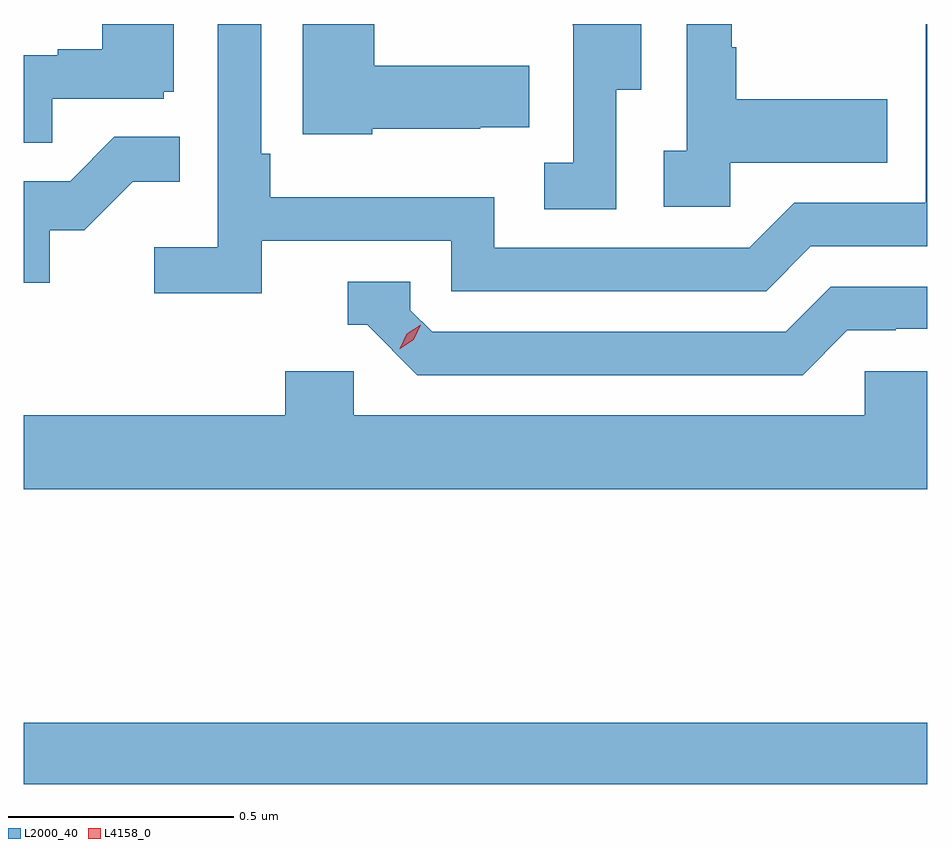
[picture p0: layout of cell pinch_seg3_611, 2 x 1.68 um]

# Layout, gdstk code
import gdstk
lib = gdstk.Library(unit=1e-6, precision=1e-09)
def R(c, l, rs):  # rectangles x0, y0, x1, y1
    for r in rs: c.add(gdstk.rectangle(r[:2], r[2:], *l))
def P(c, l, *ps):  # polygons
    for p in ps: c.add(gdstk.Polygon(p, *l))
L2000_40 = (2000, 40)
L4158_0 = (4158, 0)

pinch_seg3_611 = lib.new_cell('pinch_seg3_611')
R(pinch_seg3_611, L2000_40, [(1036.076,686.944,1038.076,687.08)])
P(pinch_seg3_611, L2000_40, [(1037.388,688.48),(1037.443,688.48),(1037.443,688.626),(1037.291,688.626),(1037.291,688.623),(1037.292,688.623),(1037.292,688.319),(1037.228,688.319),(1037.228,688.216),(1037.388,688.216)],
  [(1036.603,688.146),(1037.022,688.146),(1037.022,688.035),(1037.719,688.035),(1037.818,688.134),(1038.076,688.134),(1038.076,688.626),(1038.072,688.626),(1038.072,688.23),(1037.781,688.23),(1037.682,688.131),(1037.118,688.131),(1037.118,688.243),(1036.622,688.243),(1036.622,688.339),(1036.602,688.339),(1036.602,688.626),(1036.506,688.626),(1036.506,688.132),(1036.365,688.132),(1036.365,688.03),(1036.603,688.03)],
  [(1037.64,688.319),(1037.987,688.319),(1037.987,688.459),(1037.653,688.459),(1037.653,688.574),(1037.643,688.574),(1037.643,688.626),(1037.544,688.626),(1037.544,688.346),(1037.493,688.346),(1037.493,688.221),(1037.64,688.221)],
  [(1036.139,688.461),(1036.386,688.461),(1036.386,688.476),(1036.408,688.476),(1036.408,688.626),(1036.25,688.626),(1036.25,688.57),(1036.151,688.57),(1036.151,688.557),(1036.076,688.557),(1036.076,688.363),(1036.139,688.363)],
  [(1036.848,688.394),(1037.087,688.394),(1037.087,688.397),(1037.195,688.397),(1037.195,688.534),(1036.852,688.534),(1036.852,688.626),(1036.694,688.626),(1036.694,688.382),(1036.848,688.382)],
  [(1036.134,688.17),(1036.21,688.17),(1036.317,688.277),(1036.421,688.277),(1036.421,688.376),(1036.277,688.376),(1036.179,688.278),(1036.076,688.278),(1036.076,688.053),(1036.134,688.053)],
  [(1037.899,687.948),(1038.006,687.948),(1038.006,687.951),(1038.076,687.951),(1038.076,688.044),(1037.862,688.044),(1037.763,687.945),(1036.98,687.945),(1036.932,687.993),(1036.932,688.056),(1036.793,688.056),(1036.793,687.96),(1036.836,687.96),(1036.947,687.849),(1037.8,687.849)],
  [(1038.076,687.858),(1037.937,687.858),(1037.937,687.76),(1036.806,687.76),(1036.806,687.858),(1036.655,687.858),(1036.655,687.76),(1036.076,687.76),(1036.076,687.596),(1038.076,687.596)])
P(pinch_seg3_611, L4158_0, [(1036.908,687.907),(1036.908,687.907),(1036.924,687.94),(1036.955,687.96),(1036.955,687.96),(1036.955,687.96),(1036.939,687.927),(1036.909,687.907)])

lib.write_gds('pinch_seg3_611.gds')
